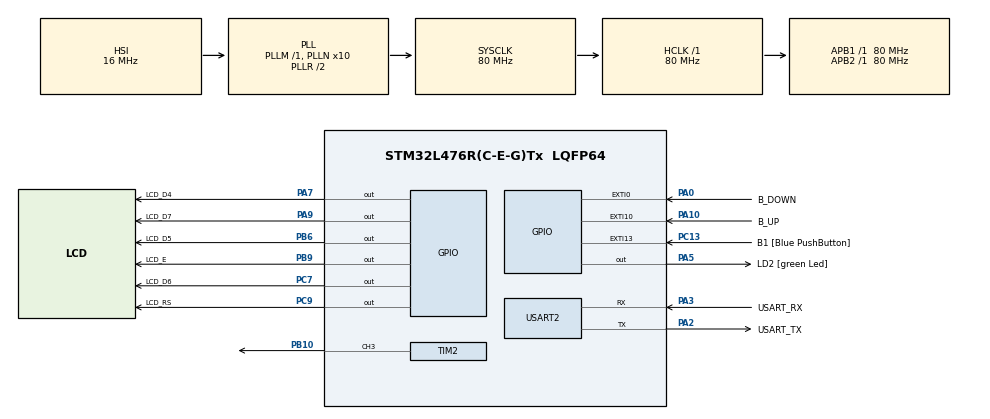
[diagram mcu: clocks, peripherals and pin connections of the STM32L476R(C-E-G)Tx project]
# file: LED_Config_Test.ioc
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Dma.Request0=TIM2_CH3
Dma.TIM2_CH3.0.Direction=DMA_MEMORY_TO_PERIPH
Dma.TIM2_CH3.0.Instance=DMA1_Channel1
Dma.TIM2_CH3.0.MemDataAlignment=DMA_MDATAALIGN_WORD
Dma.TIM2_CH3.0.MemInc=DMA_MINC_ENABLE
Dma.TIM2_CH3.0.Mode=DMA_NORMAL
Dma.TIM2_CH3.0.PeriphDataAlignment=DMA_PDATAALIGN_WORD
Dma.TIM2_CH3.0.PeriphInc=DMA_PINC_DISABLE
Dma.TIM2_CH3.0.Priority=DMA_PRIORITY_HIGH
Mcu.Family=STM32L4
Mcu.Name=STM32L476R(C-E-G)Tx
Mcu.Package=LQFP64
NVIC.DMA1_Channel1_IRQn=true\:0\:0\:false\:false\:true\:false\:true\:true
NVIC.EXTI0_IRQn=true\:0\:0\:false\:false\:true\:true\:true\:true
NVIC.EXTI15_10_IRQn=true\:0\:0\:false\:false\:true\:true\:true\:true
NVIC.PriorityGroup=NVIC_PRIORITYGROUP_4
PA0.GPIO_Label=B_DOWN
PA0.GPIO_ModeDefaultEXTI=GPIO_MODE_IT_FALLING
PA0.GPIO_PuPd=GPIO_PULLUP
PA0.Signal=GPXTI0
PA10.GPIO_Label=B_UP
PA10.GPIO_ModeDefaultEXTI=GPIO_MODE_IT_FALLING
PA10.GPIO_PuPd=GPIO_PULLUP
PA10.Signal=GPXTI10
PA13\ (JTMS-SWDIO).GPIO_Label=TMS
PA13\ (JTMS-SWDIO).Mode=Serial_Wire
PA13\ (JTMS-SWDIO).Signal=SYS_JTMS-SWDIO
PA14\ (JTCK-SWCLK).GPIO_Label=TCK
PA14\ (JTCK-SWCLK).Mode=Serial_Wire
PA14\ (JTCK-SWCLK).Signal=SYS_JTCK-SWCLK
PA2.GPIO_Label=USART_TX
PA2.GPIO_Mode=GPIO_MODE_AF_PP
PA2.GPIO_PuPd=GPIO_NOPULL
PA2.GPIO_Speed=GPIO_SPEED_FREQ_VERY_HIGH
PA2.Mode=Asynchronous
PA2.Signal=USART2_TX
PA3.GPIO_Label=USART_RX
PA3.GPIO_Mode=GPIO_MODE_AF_PP
PA3.GPIO_PuPd=GPIO_NOPULL
PA3.GPIO_Speed=GPIO_SPEED_FREQ_VERY_HIGH
PA3.Mode=Asynchronous
PA3.Signal=USART2_RX
PA5.GPIO_Label=LD2 [green Led]
PA5.Signal=GPIO_Output
PA7.GPIO_Label=LCD_D4
PA7.Signal=GPIO_Output
PA9.GPIO_Label=LCD_D7
PA9.Signal=GPIO_Output
PB10.Signal=S_TIM2_CH3
PB3\ (JTDO-TRACESWO).GPIO_Label=SWO
PB3\ (JTDO-TRACESWO).Signal=SYS_JTDO-SWO
PB6.GPIO_Label=LCD_D5
PB6.Signal=GPIO_Output
PB9.GPIO_Label=LCD_E
PB9.Signal=GPIO_Output
PC13.GPIO_Label=B1 [Blue PushButton]
PC13.GPIO_ModeDefaultEXTI=GPIO_MODE_IT_FALLING
PC13.GPIO_PuPd=GPIO_NOPULL
PC13.Signal=GPXTI13
PC14-OSC32_IN\ (PC14).Mode=LSE-External-Oscillator
PC14-OSC32_IN\ (PC14).Signal=RCC_OSC32_IN
PC15-OSC32_OUT\ (PC15).Mode=LSE-External-Oscillator
PC15-OSC32_OUT\ (PC15).Signal=RCC_OSC32_OUT
PC7.GPIO_Label=LCD_D6
PC7.Signal=GPIO_Output
PC9.GPIO_Label=LCD_RS
PC9.Signal=GPIO_Output
PH0-OSC_IN\ (PH0).Signal=RCC_OSC_IN
PH1-OSC_OUT\ (PH1).Signal=RCC_OSC_OUT
ProjectManager.HeapSize=0x200
ProjectManager.StackSize=0x400
ProjectManager.TargetToolchain=STM32CubeIDE
RCC.ADCFreq_Value=64000000
RCC.AHBFreq_Value=80000000
RCC.APB1Freq_Value=80000000
RCC.APB1TimFreq_Value=80000000
RCC.APB2Freq_Value=80000000
RCC.APB2TimFreq_Value=80000000
RCC.CortexFreq_Value=80000000
RCC.HCLKFreq_Value=80000000
RCC.HSE_VALUE=8000000
RCC.HSI_VALUE=16000000
RCC.MSI_VALUE=4000000
RCC.PLLN=10
RCC.PLLSourceVirtual=RCC_PLLSOURCE_HSI
RCC.PREFETCH_ENABLE=1
RCC.SYSCLKFreq_VALUE=80000000
RCC.SYSCLKSource=RCC_SYSCLKSOURCE_PLLCLK
RCC.USART2CLockSelection=RCC_USART2CLKSOURCE_SYSCLK
RCC.USBFreq_Value=64000000
RCC.VCOOutputFreq_Value=160000000
SH.S_TIM2_CH3.0=TIM2_CH3,PWM Generation3 CH3
TIM2.Channel-PWM\ Generation3\ CH3=TIM_CHANNEL_3
TIM2.Period=100
USART2.VirtualMode-Asynchronous=VM_ASYNC
VP_TIM2_VS_ClockSourceINT.Mode=Internal
board=NUCLEO-L476RG

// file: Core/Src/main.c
/* USER CODE BEGIN Header */
/**
  ******************************************************************************
  * @file           : main.c
  * @brief          : Main program body
  ******************************************************************************
  * @attention
  *
  * Copyright (c) 2023 STMicroelectronics.
  * All rights reserved.
  *
  * This software is licensed under terms that can be found in the LICENSE file
  * in the root directory of this software component.
  * If no LICENSE file comes with this software, it is provided AS-IS.
  *
  ******************************************************************************
  */
/* USER CODE END Header */
#include "main.h"
#include "dma.h"
#include "tim.h"
#include "usart.h"
#include "gpio.h"

/* USER CODE BEGIN Includes */

#include "string.h"
#include "stdio.h"
#include "math.h"

#include "lcd_stm32f0.h"
/* USER CODE END Includes */

/* USER CODE BEGIN PTD */

typedef union
{
  struct
  {
    uint8_t b;
    uint8_t r;
    uint8_t g;
  } color;
  uint32_t data;
} PixelRGB_t;

/* USER CODE END PTD */

/* USER CODE BEGIN PD */

#define NEOPIXEL_ZERO 	32 	// (ARR+)(0.32) = (100*0.32) = 32
#define NEOPIXEL_ONE	68	// (ARR+)(0.68) = (100*0.68) = 68

#define NUM_PIXELS		3*9
#define DMA_BUFF_SIZE	(NUM_PIXELS * 24) + 1

#define SWEEP 0
#define PI 3.14159265
#define MODE 2 //0 = normal, 1 and 2 for different button functions (single leds)
//#define COLOUR 0 //1 (red), 2 (green), 3 (blue), or 4 (white), else 0 (other)

#define R 255
#define G 0
#define B 128
/* USER CODE END PD */

/* USER CODE BEGIN PV */

PixelRGB_t pixel[NUM_PIXELS] = {0};
uint32_t dmaBuffer[DMA_BUFF_SIZE] = {0};
uint32_t *pBuff;
int i, j, k;
uint16_t stepSize;

uint8_t COLOUR = 7; //1 (red), 2 (green), 3 (blue), or 4 (white), else 0 (other)
float brightness = 4.5;
uint32_t lastDebounceTime = 0;

uint8_t pos = 4;
/* USER CODE END PV */

void SystemClock_Config(void);
/* USER CODE BEGIN PFP */

void rainbow(void);
void rgb(uint8_t r, uint8_t g, uint8_t b);
void Set_Brightness(float brightness);

void sweep(uint8_t r, uint8_t g, uint8_t b);

void WS2812_send(void);

void LCD_Print();
char buff[16];
void HAL_GPIO_EXTI_Callback(uint16_t GPIO_Pin);
/* USER CODE END PFP */

/* USER CODE BEGIN 0 */

void HAL_TIM_PWM_PulseFinishedCallback(TIM_HandleTypeDef *htim)
{
  HAL_TIM_PWM_Stop_DMA(htim, TIM_CHANNEL_3);
}

#ifdef __GNUC__
#define PUTCHAR_PROTOTYPE int __io_putchar(int ch)
#else
#define PUTCHAR_PROTOTYPE int fputc(int ch, FILE *f)
#endif

PUTCHAR_PROTOTYPE
{
  HAL_UART_Transmit(&huart2, (uint8_t *)&ch, 1, HAL_MAX_DELAY);
  return ch;
}

/* USER CODE END 0 */

int main(void)
{

  /* MCU Configuration--------------------------------------------------------*/

  /* Reset of all peripherals, Initializes the Flash interface and the Systick. */
  HAL_Init();

  /* Configure the system clock */
  SystemClock_Config();

  /* Initialize all configured peripherals */
  MX_GPIO_Init();
  MX_DMA_Init();
  MX_USART2_UART_Init();
  MX_TIM2_Init();

  /* Infinite loop */
  /* USER CODE BEGIN WHILE */

  k = 0;
  stepSize = 4;

  init_LCD();
  LCD_Print();
  while (1)
  {
    /* USER CODE END WHILE */

    /* USER CODE BEGIN 3 */
//	rainbow();

	switch(COLOUR)
	{
	case(1):
			rgb(255, 0, 0); //red
			break;
	case(2):
			rgb(255, 255, 0); //yellow
			break;
	case(3):
			rgb(0, 255, 0); //green
			break;
	case(4):
			rgb(0, 255, 255); //cyan
			break;
	case(5):
			rgb(0, 0, 255); //blue
			break;
	case(6):
			rgb(255, 0, 255); //magenta
			break;
	case(7):
			rgb(255, 255, 255); //white
			break;
	case(8):
			rainbow();
			break;
	default:
			rgb(20, 20, 20);
			break;
	}

	Set_Brightness(brightness);
	WS2812_send();

    HAL_Delay(100);
  }
  /* USER CODE END 3 */
}

void SystemClock_Config(void)
{
  RCC_OscInitTypeDef RCC_OscInitStruct = {0};
  RCC_ClkInitTypeDef RCC_ClkInitStruct = {0};

  /** Configure the main internal regulator output voltage
  */
  if (HAL_PWREx_ControlVoltageScaling(PWR_REGULATOR_VOLTAGE_SCALE1) != HAL_OK)
  {
    Error_Handler();
  }

  /** Initializes the RCC Oscillators according to the specified parameters
  * in the RCC_OscInitTypeDef structure.
  */
  RCC_OscInitStruct.OscillatorType = RCC_OSCILLATORTYPE_HSI;
  RCC_OscInitStruct.HSIState = RCC_HSI_ON;
  RCC_OscInitStruct.HSICalibrationValue = RCC_HSICALIBRATION_DEFAULT;
  RCC_OscInitStruct.PLL.PLLState = RCC_PLL_ON;
  RCC_OscInitStruct.PLL.PLLSource = RCC_PLLSOURCE_HSI;
  RCC_OscInitStruct.PLL.PLLM = 1;
  RCC_OscInitStruct.PLL.PLLN = 10;
  RCC_OscInitStruct.PLL.PLLP = RCC_PLLP_DIV7;
  RCC_OscInitStruct.PLL.PLLQ = RCC_PLLQ_DIV2;
  RCC_OscInitStruct.PLL.PLLR = RCC_PLLR_DIV2;
  if (HAL_RCC_OscConfig(&RCC_OscInitStruct) != HAL_OK)
  {
    Error_Handler();
  }

  /** Initializes the CPU, AHB and APB buses clocks
  */
  RCC_ClkInitStruct.ClockType = RCC_CLOCKTYPE_HCLK|RCC_CLOCKTYPE_SYSCLK
                              |RCC_CLOCKTYPE_PCLK1|RCC_CLOCKTYPE_PCLK2;
  RCC_ClkInitStruct.SYSCLKSource = RCC_SYSCLKSOURCE_PLLCLK;
  RCC_ClkInitStruct.AHBCLKDivider = RCC_SYSCLK_DIV1;
  RCC_ClkInitStruct.APB1CLKDivider = RCC_HCLK_DIV1;
  RCC_ClkInitStruct.APB2CLKDivider = RCC_HCLK_DIV1;

  if (HAL_RCC_ClockConfig(&RCC_ClkInitStruct, FLASH_LATENCY_4) != HAL_OK)
  {
    Error_Handler();
  }
}

/* USER CODE BEGIN 4 */
void LCD_Print(){
    lcd_command(CLEAR);

    int b_percent = (brightness*100)/45;
    sprintf(buff, "BRIGHTNESS: %d", b_percent);
    lcd_putstring(buff);

    lcd_command(LINE_TWO); //1 (red), 2 (green), 3 (blue), 4 (white), or 5 (rainbow), else 0 (RGB)
	switch(COLOUR)
	{
	case(1):
			lcd_putstring("COLOUR: RED"); //red
			break;
	case(2):
			lcd_putstring("COLOUR: YELLOW");
			break;
	case(3):
			lcd_putstring("COLOUR: GREEN");
			break;
	case(4):
			lcd_putstring("COLOUR: CYAN");
			break;
	case(5):
			lcd_putstring("COLOUR: BLUE");
			break;
	case(6):
			lcd_putstring("COLOUR: MAGENTA");
			break;
	case(7):
			sprintf(buff, "COLOUR: WHITE %d", (pos+1));
			lcd_putstring(buff);
			break;
	}
}

void Set_Brightness(float brightness)
{
	if (brightness > 45) brightness = 45;
	float angle = 90-brightness;  // in degrees
	angle = angle*PI / 180;  // in rad
	for (int i= 0; i<NUM_PIXELS; i++)
	{
		pixel[i].color.g = pixel[i].color.g/(tan(angle));
		pixel[i].color.r = pixel[i].color.r/(tan(angle));
		pixel[i].color.b = pixel[i].color.b/(tan(angle));
	}
}

void rainbow(void)
{
	for (i = (NUM_PIXELS - 1); i > 0; i--)
	{
		pixel[i].data = pixel[i-1].data;
	}

	if (k < 255)
	{
		pixel[0].color.g = 254 - k; //[254, 0]
		pixel[0].color.r = k + 1;
		pixel[0].color.b = 0;
	}
	else if (k < 510)
	{
		pixel[0].color.g = 0;
		pixel[0].color.r = 509 - k; //[254, 0]
		pixel[0].color.b = k - 254; //[1, 255]
		j++;
	}
	else if (k < 765)
	{
		pixel[0].color.g = k - 509; //[1, 255];
		pixel[0].color.r = 0;
		pixel[0].color.b = 764 - k; //[254, 0]
	}
	k = (k + stepSize) % 765;
}

/******************************************************************************
function:	Set all LEDs to RGB value
info：		Loop through all pixel values and set to RGB colour.
******************************************************************************/
void rgb(uint8_t r, uint8_t g, uint8_t b)
{
#if MODE
	for (i = 0; i < NUM_PIXELS; i++)
	{
		if (i == pos)
		{
			pixel[i].color.r = r;
			pixel[i].color.g = g;
			pixel[i].color.b = b;
		}
//		else if (i == pos - 1)
//		{
//			pixel[i].color.r = r;
//			pixel[i].color.g = g;
//			pixel[i].color.b = b;
//		}
//		else if (i == pos + 1)
//		{
//			pixel[i].color.r = r;
//			pixel[i].color.g = g;
//			pixel[i].color.b = b;
//		}
		else
		{
			pixel[i].color.r = 0;
			pixel[i].color.g = 0;
			pixel[i].color.b = 0;
		}

	}
#else
	for (i = 0; i < NUM_PIXELS; i++)
	{
		pixel[i].color.r = r;
		pixel[i].color.g = g;
		pixel[i].color.b = b;
	}
#endif
}

/******************************************************************************
function:	Set first LED to RGB value then sweep through
info：		Loop through all pixel values and set to RGB colour.
******************************************************************************/
void sweep(uint8_t r, uint8_t g, uint8_t b)
{
    // Move pixel data
    for (int i = (NUM_PIXELS - 1); i > 0; i--)
    {
        pixel[i].data = pixel[i - 1].data;
    }

    // Set the first pixel's color and set the rest to 0
    if (k == 0)
    {
        pixel[0].color.g = g; //[254, 0]
        pixel[0].color.r = r;
        pixel[0].color.b = b;
    }
    else
    {
        pixel[0].color.g = 0;
        pixel[0].color.r = 0;
        pixel[0].color.b = 0;
    }

    k++;
    if (k == NUM_PIXELS)
    {
    	k = 0;
    }
}

void WS2812_send(void)
{
    pBuff = dmaBuffer;
    for (i = 0; i < NUM_PIXELS; i++)
    {
       for (j = 23; j >= 0; j--)
       {
         if ((pixel[i].data >> j) & 0x01)
         {
           *pBuff = NEOPIXEL_ONE;
         }
         else
         {
           *pBuff = NEOPIXEL_ZERO;
         }
         pBuff++;
     }
    }
    dmaBuffer[DMA_BUFF_SIZE - 1] = 0; // last element must be 0!

    HAL_TIM_PWM_Start_DMA(&htim2, TIM_CHANNEL_3, dmaBuffer, DMA_BUFF_SIZE);
}

void HAL_GPIO_EXTI_Callback(uint16_t GPIO_Pin)
{
	uint32_t currentTime = HAL_GetTick();

	if (currentTime - lastDebounceTime >= 100){
		if (GPIO_Pin == B_DOWN_Pin)
		{
			switch(MODE)
			{
			default:
					if (brightness == 0)
					{
						brightness = brightness;
					}
					else
					{
						brightness = brightness - 4.5;
					}
					break;
			case(2):
					pos = pos + 1;
					if (pos > 8) pos = 0;
					break;
			}
		}
		else if (GPIO_Pin == B_UP_Pin)
		{
			switch(MODE)
			{
			default:
					if (brightness == 45)
					{
						brightness = brightness;
					}
					else
					{
						brightness = brightness + 4.5;
					}
					break;
			case(1):
					pos++;
					if (pos == 3) pos = 0;
					break;
			}

		}
		else if (GPIO_Pin == B1_Pin)
		{
			if (COLOUR == 7)
			{
				COLOUR = 1;
			}
			else
			{
				COLOUR = COLOUR + 1;
			}
			HAL_GPIO_TogglePin(LD2_GPIO_Port, LD2_Pin);
		}
		LCD_Print();
		lastDebounceTime = currentTime;
	}
}
/* USER CODE END 4 */

void Error_Handler(void)
{
  __disable_irq();
  while (1)
  {
  }
}
